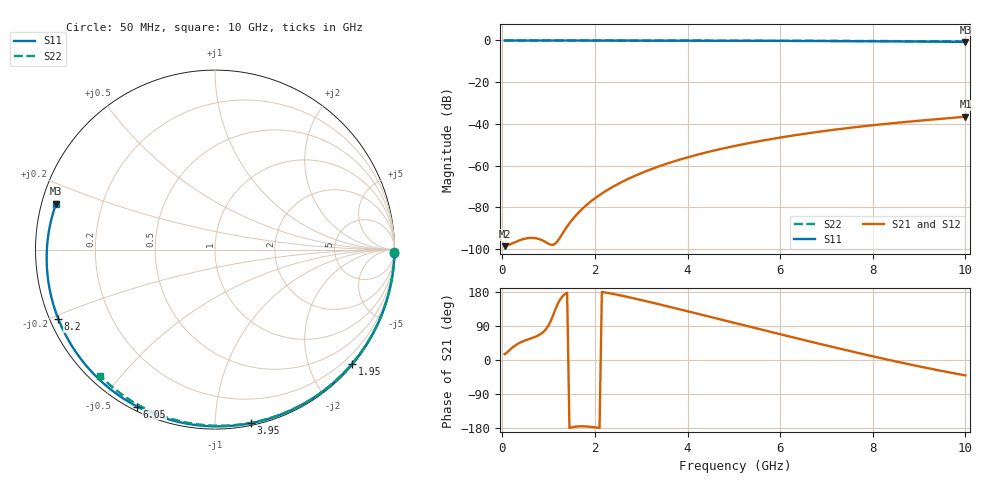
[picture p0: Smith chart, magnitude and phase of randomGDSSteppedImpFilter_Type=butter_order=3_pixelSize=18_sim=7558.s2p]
! freq	dB(S11)	phase(S11)	dB(S12)	phase(S12)
!  dB(S21)	phase(S21)	dB(S22)	phase(S22)
!S-par simulation data
#  GHz  S  DB  R 50
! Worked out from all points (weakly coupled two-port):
!   200 points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, 50 MHz to 10 GHz, reference 50 ohm
!   highest |S21| = -36.54 dB at 10 GHz (marker M1); lowest = -98.6 dB at 50 MHz (marker M2)
!   lowest |S11| = -0.7 dB at 10 GHz (marker M3), VSWR 24.52, Z = 2.08 + j7.05 ohm
!   |S11| at or under -10 dB: nowhere
!   |S22| runs from -0.4 to 0.0 dB; largest |S21 - S12| = 0
!   S11 on the Smith chart (normalised r, x): 50 MHz: open; 1.95 GHz: 0.03, -2.77; 3.95 GHz: 0.02, -1.23; 6.05 GHz: 0.02, -0.62; 8.2 GHz: 0.02, -0.21; 10 GHz: 0.04, +0.14
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0.05  -0.00 -1.0  -98.55 15.5  -98.55 15.5  -0.00 -0.8
0.85  -0.02 -17.5  -95.61 70.4  -95.61 70.4  -0.02 -12.9
1.3  -0.03 -26.7  -92.51 167.9  -92.51 167.9  -0.02 -19.7
1.75  -0.05 -35.7  -80.20 -175.0  -80.20 -175.0  -0.03 -26.4
1.95  -0.05 -39.7  -76.47 -176.9  -76.47 -176.9  -0.04 -29.3
2.25  -0.06 -45.7  -71.90 177.6  -71.90 177.6  -0.04 -33.7
2.6  -0.07 -52.5  -67.60 169.2  -67.60 169.2  -0.05 -38.8
3  -0.08 -60.3  -63.56 158.3  -63.56 158.3  -0.06 -44.6
3.4  -0.09 -67.9  -60.19 146.7  -60.19 146.7  -0.07 -50.2
3.95  -0.11 -78.2  -56.32 130.1  -56.32 130.1  -0.08 -57.9
4.5  -0.13 -88.4  -53.12 113.3  -53.12 113.3  -0.09 -65.4
5.05  -0.15 -98.4  -50.40 96.6  -50.40 96.6  -0.11 -72.7
5.55  -0.18 -107.4  -48.25 81.4  -48.25 81.4  -0.13 -79.2
6.05  -0.21 -116.4  -46.34 66.4  -46.34 66.4  -0.15 -85.6
6.7  -0.26 -128.1  -44.15 47.1  -44.15 47.1  -0.18 -93.7
7.5  -0.33 -142.8  -41.86 23.8  -41.86 23.8  -0.23 -103.3
8.2  -0.40 -156.1  -40.15 4.2  -40.15 4.2  -0.28 -111.6
8.35  -0.42 -159.1  -39.81 0.2  -39.81 0.2  -0.29 -113.4
8.8  -0.48 -168.3  -38.86 -11.8  -38.86 -11.8  -0.33 -118.6
9.25  -0.55 -178.1  -37.96 -23.1  -37.96 -23.1  -0.37 -123.7
9.65  -0.63 172.6  -37.20 -32.7  -37.20 -32.7  -0.41 -128.3
10  -0.71 163.9  -36.54 -40.6  -36.54 -40.6  -0.45 -132.3
